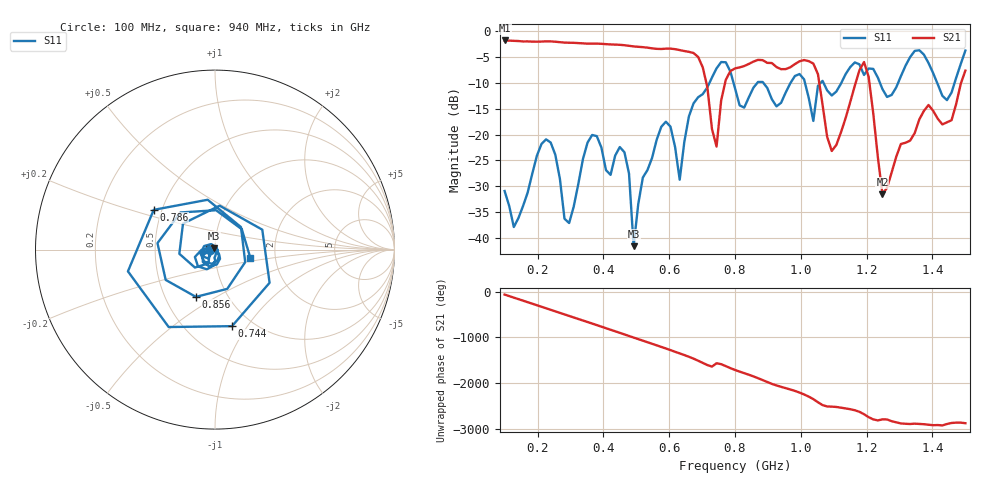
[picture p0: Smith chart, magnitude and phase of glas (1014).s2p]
! NanoVNA-App
! Date: 2025-09-25 16:03:22
! Start: 100MHz Stop: 1,5GHz Points: 101
! S-Parameter data: F S11 S21 S12 S22
# Hz S RI R 50
!  Frequency  S11_Real  S11_Imag  S21_Real  S21_Imag  S12_Real  S12_Imag  S22_Real  S22_Imag
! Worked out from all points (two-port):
!   101 points, 100 MHz to 1.5 GHz, reference 50 ohm
!   highest |S21| = -1.80 dB at 100 MHz (marker M1); lowest = -31.5 dB at 1.248 GHz (marker M2)
!   |S21| within 3 dB of the highest: start of sweep to 684.5 MHz
!   lowest |S11| = -41.6 dB at 492 MHz (marker M3), VSWR 1.02, Z = 49.5 + j0.634 ohm
!   |S11| at or under -10 dB: start of sweep to 722.5 MHz; 795.5 MHz to 867.8 MHz (72.32 MHz wide, 8.7 % of centre); 886.1 MHz to 968.8 MHz (82.72 MHz wide, 8.92 % of centre) (the widest 3 of 7)
!   S12 and S22 are empty: the file has one direction only
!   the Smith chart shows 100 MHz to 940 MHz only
!   S11 on the Smith chart (normalised r, x): 100 MHz: 0.94, -0.01; 744 MHz: 0.81, -0.85; 786 MHz: 0.45, +0.24; 856 MHz: 0.71, -0.41; 940 MHz: 1.48, -0.14
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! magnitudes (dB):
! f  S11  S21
! 100 MHz  -30.9  -1.8
! 128 MHz  -37.9  -1.9
! 226 MHz  -20.9  -2.0
! 296 MHz  -37.1  -2.2
! 338 MHz  -24.7  -2.4
! 464 MHz  -23.4  -2.7
! 492 MHz  -41.6  -3.0
! 576 MHz  -18.5  -3.5
! 632 MHz  -28.7  -3.7
! 702 MHz  -12.2  -7.0
! 744 MHz  -7.2  -22.3
! 786 MHz  -7.8  -7.7
! 800 MHz  -11.0  -7.2
! 856 MHz  -10.9  -5.9
! 940 MHz  -13.9  -7.4
! 996 MHz  -8.3  -5.8
! 1.038 GHz  -17.4  -6.3
! 1.094 GHz  -12.4  -23.2
! 1.192 GHz  -8.5  -6.0
! 1.248 GHz  -11.2  -31.5
! 1.276 GHz  -12.3  -27.3
! 1.5 GHz  -3.8  -7.6
